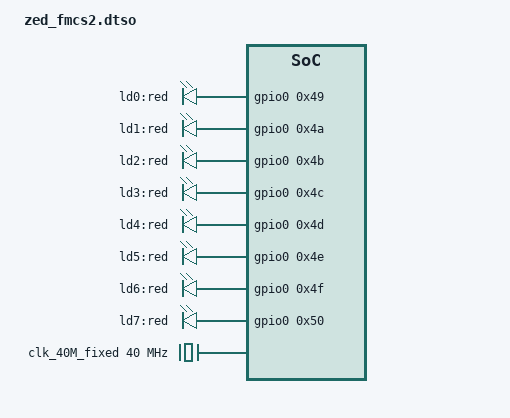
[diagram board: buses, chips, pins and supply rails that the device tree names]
/dts-v1/;
/plugin/;

/{
    // Add board specific clocks
    fragment@0{
        target = <&clocks>;
        __overlay__{
            clk_40M_fixed: clock@0 {
                #clock-cells = <0x0>;
                compatible = "fixed-clock";
                clock-frequency = <40000000>;
                clock-output-names = "ad9361_ext_refclk";
            };
        };
    };

    // Set clock in ad9361_phy
    fragment@1{
        target = <&ad9361_phy>;
        __overlay__{
            clocks = <&clk_40M_fixed 0x0>;
            adi,dcxo-coarse-and-fine-tune = <0x8 0x1720>;
        };
    };

    fragment@2{
        target-path = "/";
        __overlay__{
            leds {
                compatible = "gpio-leds";

                ld0 {
                    label = "ld0:red";
                    gpios = <&gpio0 0x49 0x0>;
                };

                ld1 {
                    label = "ld1:red";
                    gpios = <&gpio0 0x4a 0x0>;
                };

                ld2 {
                    label = "ld2:red";
                    gpios = <&gpio0 0x4b 0x0>;
                };

                ld3 {
                    label = "ld3:red";
                    gpios = <&gpio0 0x4c 0x0>;
                };

                ld4 {
                    label = "ld4:red";
                    gpios = <&gpio0 0x4d 0x0>;
                };

                ld5 {
                    label = "ld5:red";
                    gpios = <&gpio0 0x4e 0x0>;
                };

                ld6 {
                    label = "ld6:red";
                    gpios = <&gpio0 0x4f 0x0>;
                };

                ld7 {
                    label = "ld7:red";
                    gpios = <&gpio0 0x50 0x0>;
                };
            };
        };
    };
};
